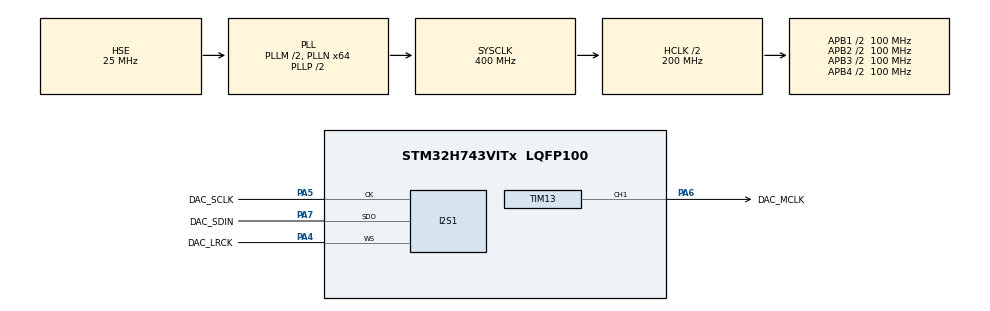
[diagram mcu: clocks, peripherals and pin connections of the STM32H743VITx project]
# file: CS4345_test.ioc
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I2S1.AudioFreq=I2S_AUDIOFREQ_192K
I2S1.AudioFreqCustom=48000
I2S1.CPOL=I2S_CPOL_LOW
I2S1.Data24BitAlignment=I2S_DATA_24BIT_ALIGNMENT_RIGHT
I2S1.DataFormat=I2S_DATAFORMAT_24B
I2S1.ErrorAudioFreq=1.72 %
I2S1.FullDuplexMode=I2S_MODE_SLAVE_FD
I2S1.Instance=SPI$Index
I2S1.RealAudioFreq=195.312 KHz
I2S1.Standard=I2S_STANDARD_MSB
I2S1.VirtualMode=I2S_MODE_MASTER
I2S1.WSInversion=I2S_WS_INVERSION_ENABLE
Mcu.Family=STM32H7
Mcu.Name=STM32H743VITx
Mcu.Package=LQFP100
NVIC.PriorityGroup=NVIC_PRIORITYGROUP_4
NVIC.SPI1_IRQn=true\:0\:0\:false\:false\:true\:true\:true
NVIC.TIM17_IRQn=true\:0\:0\:false\:false\:true\:true\:true
PA4.GPIO_Label=DAC_LRCK
PA4.GPIO_PuPd=GPIO_PULLDOWN
PA4.GPIO_Speed=GPIO_SPEED_FREQ_VERY_HIGH
PA4.Mode=Half_Duplex_Master_Tx
PA4.Signal=I2S1_WS
PA5.GPIO_Label=DAC_SCLK
PA5.GPIO_PuPd=GPIO_PULLDOWN
PA5.GPIO_Speed=GPIO_SPEED_FREQ_VERY_HIGH
PA5.Mode=Half_Duplex_Master_Tx
PA5.Signal=I2S1_CK
PA6.GPIO_Label=DAC_MCLK
PA6.GPIO_PuPd=GPIO_PULLDOWN
PA6.GPIO_Speed=GPIO_SPEED_FREQ_VERY_HIGH
PA6.Signal=S_TIM13_CH1
PA7.GPIO_Label=DAC_SDIN
PA7.GPIO_PuPd=GPIO_PULLDOWN
PA7.GPIO_Speed=GPIO_SPEED_FREQ_VERY_HIGH
PA7.Mode=Half_Duplex_Master_Tx
PA7.Signal=I2S1_SDO
PH0-OSC_IN\ (PH0).Mode=HSE-External-Oscillator
PH0-OSC_IN\ (PH0).Signal=RCC_OSC_IN
PH1-OSC_OUT\ (PH1).Mode=HSE-External-Oscillator
PH1-OSC_OUT\ (PH1).Signal=RCC_OSC_OUT
ProjectManager.HeapSize=0x200
ProjectManager.StackSize=0x400
ProjectManager.TargetToolchain=STM32CubeIDE
RCC.ADCFreq_Value=100000000
RCC.APB1Freq_Value=100000000
RCC.APB2Freq_Value=100000000
RCC.APB3Freq_Value=100000000
RCC.APB4Freq_Value=100000000
RCC.CortexFreq_Value=400000000
RCC.D1PPRE=RCC_APB3_DIV2
RCC.D2PPRE1=RCC_APB1_DIV2
RCC.D2PPRE2=RCC_APB2_DIV2
RCC.D3PPRE=RCC_APB4_DIV2
RCC.DIVM1=2
RCC.DIVM2=2
RCC.DIVM3=2
RCC.DIVN1=64
RCC.DIVN2=16
RCC.DIVN3=16
RCC.DIVQ1=8
RCC.HCLKFreq_Value=200000000
RCC.HPRE=RCC_HCLK_DIV2
RCC.PLLSourceVirtual=RCC_PLLSOURCE_HSE
RCC.SYSCLKFreq_VALUE=400000000
RCC.SYSCLKSource=RCC_SYSCLKSOURCE_PLLCLK
RCC.USBFreq_Value=100000000
SH.S_TIM13_CH1.0=TIM13_CH1,PWM Generation1 CH1
TIM13.Channel=TIM_CHANNEL_1
TIM13.OCPolarity_1=TIM_OCPOLARITY_HIGH
TIM13.Period=15
TIM13.Pulse=7
TIM17.Channel=TIM_CHANNEL_1
TIM17.Period=1023
TIM17.Prescaler=0
VP_TIM13_VS_ClockSourceINT.Mode=Enable_Timer
VP_TIM17_VS_ClockSourceINT.Mode=Enable_Timer
VP_TIM17_VS_no_output1.Mode=Output Compare1 No Output
board=custom

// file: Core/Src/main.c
/* USER CODE BEGIN Header */
/**
 ******************************************************************************
 * @file           : main.c
 * @brief          : Main program body
 ******************************************************************************
 * @attention
 *
 * <h2><center>&copy; Copyright (c) 2021 STMicroelectronics.
 * All rights reserved.</center></h2>
 *
 * This software component is licensed by ST under BSD 3-Clause license,
 * the "License"; You may not use this file except in compliance with the
 * License. You may obtain a copy of the License at:
 *                        opensource.org/licenses/BSD-3-Clause
 *
 ******************************************************************************
 */
/* USER CODE END Header */
#include "main.h"

I2S_HandleTypeDef hi2s1;

TIM_HandleTypeDef htim13;
TIM_HandleTypeDef htim17;

/* USER CODE BEGIN PV */

uint32_t stereo_buffer[2];
uint16_t t = 0;
uint32_t DMAbuffer[3600][2];

/* USER CODE END PV */

void SystemClock_Config(void);
static void MX_GPIO_Init(void);
static void MX_TIM17_Init(void);
static void MX_I2S1_Init(void);
static void MX_TIM13_Init(void);

int main(void)
{

  /* MCU Configuration--------------------------------------------------------*/

  /* Reset of all peripherals, Initializes the Flash interface and the Systick. */
  HAL_Init();

  /* Configure the system clock */
  SystemClock_Config();

  /* USER CODE BEGIN SysInit */

  GPIO_InitTypeDef GPIO_InitStruct;
  __HAL_RCC_GPIOA_CLK_ENABLE();
  HAL_GPIO_WritePin(GPIOA, GPIO_PIN_4, GPIO_PIN_RESET);
  HAL_GPIO_WritePin(GPIOA, GPIO_PIN_5, GPIO_PIN_RESET);
  HAL_GPIO_WritePin(GPIOA, GPIO_PIN_6, GPIO_PIN_RESET);
  HAL_GPIO_WritePin(GPIOA, GPIO_PIN_7, GPIO_PIN_RESET);
  GPIO_InitStruct.Pin = GPIO_PIN_4|GPIO_PIN_5|GPIO_PIN_6|GPIO_PIN_7;
  GPIO_InitStruct.Mode = GPIO_MODE_OUTPUT_PP;
  GPIO_InitStruct.Speed = GPIO_SPEED_FREQ_VERY_HIGH;
  HAL_GPIO_Init(GPIOA, &GPIO_InitStruct);

  HAL_Delay(1000);

  /* USER CODE END SysInit */

  /* Initialize all configured peripherals */
  MX_GPIO_Init();
  MX_TIM17_Init();
  MX_I2S1_Init();
  MX_TIM13_Init();
  /* USER CODE BEGIN 2 */

  HAL_I2S_Init(&hi2s1);
  HAL_TIM_PWM_Start(&htim13, TIM_CHANNEL_1);
  HAL_Delay(100);

  HAL_TIM_Base_Start_IT(&htim17);

  /* USER CODE END 2 */

  /* Infinite loop */
	while (1) {

	}
}

void SystemClock_Config(void)
{
  RCC_OscInitTypeDef RCC_OscInitStruct = {0};
  RCC_ClkInitTypeDef RCC_ClkInitStruct = {0};

  /** Supply configuration update enable
  */
  HAL_PWREx_ConfigSupply(PWR_LDO_SUPPLY);
  /** Configure the main internal regulator output voltage
  */
  __HAL_PWR_VOLTAGESCALING_CONFIG(PWR_REGULATOR_VOLTAGE_SCALE1);

  while(!__HAL_PWR_GET_FLAG(PWR_FLAG_VOSRDY)) {}
  /** Initializes the RCC Oscillators according to the specified parameters
  * in the RCC_OscInitTypeDef structure.
  */
  RCC_OscInitStruct.OscillatorType = RCC_OSCILLATORTYPE_HSE;
  RCC_OscInitStruct.HSEState = RCC_HSE_ON;
  RCC_OscInitStruct.PLL.PLLState = RCC_PLL_ON;
  RCC_OscInitStruct.PLL.PLLSource = RCC_PLLSOURCE_HSE;
  RCC_OscInitStruct.PLL.PLLM = 2;
  RCC_OscInitStruct.PLL.PLLN = 64;
  RCC_OscInitStruct.PLL.PLLP = 2;
  RCC_OscInitStruct.PLL.PLLQ = 8;
  RCC_OscInitStruct.PLL.PLLR = 2;
  RCC_OscInitStruct.PLL.PLLRGE = RCC_PLL1VCIRANGE_3;
  RCC_OscInitStruct.PLL.PLLVCOSEL = RCC_PLL1VCOWIDE;
  RCC_OscInitStruct.PLL.PLLFRACN = 0;
  if (HAL_RCC_OscConfig(&RCC_OscInitStruct) != HAL_OK)
  {
    Error_Handler();
  }
  /** Initializes the CPU, AHB and APB buses clocks
  */
  RCC_ClkInitStruct.ClockType = RCC_CLOCKTYPE_HCLK|RCC_CLOCKTYPE_SYSCLK
                              |RCC_CLOCKTYPE_PCLK1|RCC_CLOCKTYPE_PCLK2
                              |RCC_CLOCKTYPE_D3PCLK1|RCC_CLOCKTYPE_D1PCLK1;
  RCC_ClkInitStruct.SYSCLKSource = RCC_SYSCLKSOURCE_PLLCLK;
  RCC_ClkInitStruct.SYSCLKDivider = RCC_SYSCLK_DIV1;
  RCC_ClkInitStruct.AHBCLKDivider = RCC_HCLK_DIV2;
  RCC_ClkInitStruct.APB3CLKDivider = RCC_APB3_DIV2;
  RCC_ClkInitStruct.APB1CLKDivider = RCC_APB1_DIV2;
  RCC_ClkInitStruct.APB2CLKDivider = RCC_APB2_DIV2;
  RCC_ClkInitStruct.APB4CLKDivider = RCC_APB4_DIV2;

  if (HAL_RCC_ClockConfig(&RCC_ClkInitStruct, FLASH_LATENCY_2) != HAL_OK)
  {
    Error_Handler();
  }
}

static void MX_I2S1_Init(void)
{

  hi2s1.Instance = SPI1;
  hi2s1.Init.Mode = I2S_MODE_MASTER_TX;
  hi2s1.Init.Standard = I2S_STANDARD_MSB;
  hi2s1.Init.DataFormat = I2S_DATAFORMAT_24B;
  hi2s1.Init.MCLKOutput = I2S_MCLKOUTPUT_DISABLE;
  hi2s1.Init.AudioFreq = I2S_AUDIOFREQ_192K;
  hi2s1.Init.CPOL = I2S_CPOL_LOW;
  hi2s1.Init.FirstBit = I2S_FIRSTBIT_MSB;
  hi2s1.Init.WSInversion = I2S_WS_INVERSION_ENABLE;
  hi2s1.Init.Data24BitAlignment = I2S_DATA_24BIT_ALIGNMENT_RIGHT;
  hi2s1.Init.MasterKeepIOState = I2S_MASTER_KEEP_IO_STATE_DISABLE;
  if (HAL_I2S_Init(&hi2s1) != HAL_OK)
  {
    Error_Handler();
  }

}

static void MX_TIM13_Init(void)
{

  TIM_OC_InitTypeDef sConfigOC = {0};

  htim13.Instance = TIM13;
  htim13.Init.Prescaler = 0;
  htim13.Init.CounterMode = TIM_COUNTERMODE_UP;
  htim13.Init.Period = 15;
  htim13.Init.ClockDivision = TIM_CLOCKDIVISION_DIV1;
  htim13.Init.AutoReloadPreload = TIM_AUTORELOAD_PRELOAD_DISABLE;
  if (HAL_TIM_Base_Init(&htim13) != HAL_OK)
  {
    Error_Handler();
  }
  if (HAL_TIM_PWM_Init(&htim13) != HAL_OK)
  {
    Error_Handler();
  }
  sConfigOC.OCMode = TIM_OCMODE_PWM1;
  sConfigOC.Pulse = 7;
  sConfigOC.OCPolarity = TIM_OCPOLARITY_HIGH;
  sConfigOC.OCFastMode = TIM_OCFAST_DISABLE;
  if (HAL_TIM_PWM_ConfigChannel(&htim13, &sConfigOC, TIM_CHANNEL_1) != HAL_OK)
  {
    Error_Handler();
  }
  HAL_TIM_MspPostInit(&htim13);

}

static void MX_TIM17_Init(void)
{

  TIM_OC_InitTypeDef sConfigOC = {0};
  TIM_BreakDeadTimeConfigTypeDef sBreakDeadTimeConfig = {0};

  htim17.Instance = TIM17;
  htim17.Init.Prescaler = 0;
  htim17.Init.CounterMode = TIM_COUNTERMODE_UP;
  htim17.Init.Period = 1023;
  htim17.Init.ClockDivision = TIM_CLOCKDIVISION_DIV1;
  htim17.Init.RepetitionCounter = 0;
  htim17.Init.AutoReloadPreload = TIM_AUTORELOAD_PRELOAD_DISABLE;
  if (HAL_TIM_Base_Init(&htim17) != HAL_OK)
  {
    Error_Handler();
  }
  if (HAL_TIM_OC_Init(&htim17) != HAL_OK)
  {
    Error_Handler();
  }
  sConfigOC.OCMode = TIM_OCMODE_TIMING;
  sConfigOC.Pulse = 0;
  sConfigOC.OCPolarity = TIM_OCPOLARITY_HIGH;
  sConfigOC.OCNPolarity = TIM_OCNPOLARITY_HIGH;
  sConfigOC.OCFastMode = TIM_OCFAST_DISABLE;
  sConfigOC.OCIdleState = TIM_OCIDLESTATE_RESET;
  sConfigOC.OCNIdleState = TIM_OCNIDLESTATE_RESET;
  if (HAL_TIM_OC_ConfigChannel(&htim17, &sConfigOC, TIM_CHANNEL_1) != HAL_OK)
  {
    Error_Handler();
  }
  sBreakDeadTimeConfig.OffStateRunMode = TIM_OSSR_DISABLE;
  sBreakDeadTimeConfig.OffStateIDLEMode = TIM_OSSI_DISABLE;
  sBreakDeadTimeConfig.LockLevel = TIM_LOCKLEVEL_OFF;
  sBreakDeadTimeConfig.DeadTime = 0;
  sBreakDeadTimeConfig.BreakState = TIM_BREAK_DISABLE;
  sBreakDeadTimeConfig.BreakPolarity = TIM_BREAKPOLARITY_HIGH;
  sBreakDeadTimeConfig.BreakFilter = 0;
  sBreakDeadTimeConfig.AutomaticOutput = TIM_AUTOMATICOUTPUT_DISABLE;
  if (HAL_TIMEx_ConfigBreakDeadTime(&htim17, &sBreakDeadTimeConfig) != HAL_OK)
  {
    Error_Handler();
  }

}

static void MX_GPIO_Init(void)
{

  /* GPIO Ports Clock Enable */
  __HAL_RCC_GPIOH_CLK_ENABLE();
  __HAL_RCC_GPIOA_CLK_ENABLE();

}

/* USER CODE BEGIN 4 */
void HAL_TIM_PeriodElapsedCallback(TIM_HandleTypeDef *htim) {

	if (htim == &htim17) {
		float f = 1000.0;
		  if(sin(f*t*180.0/192000.0*57.29578) >= 0){
			  stereo_buffer[0] = (float)(0x0007FFFF) * sin(f*t/192000.0*57.29578);
			  stereo_buffer[1] = stereo_buffer[0];
		  }else{
			  stereo_buffer[0] = 0x00FFFFFF + ((float)(0x0007FFFF) * sin(f*t/192000.0*57.29578));
			  stereo_buffer[1] = stereo_buffer[0];
		  }

		  if (t < 192000 - 1) t++; else t = 0;

		HAL_I2S_Transmit(&hi2s1, (uint16_t*)stereo_buffer, 2, 0);

	}
}

/* USER CODE END 4 */

void Error_Handler(void)
{
}

/************************ (C) COPYRIGHT STMicroelectronics *****END OF FILE****/
